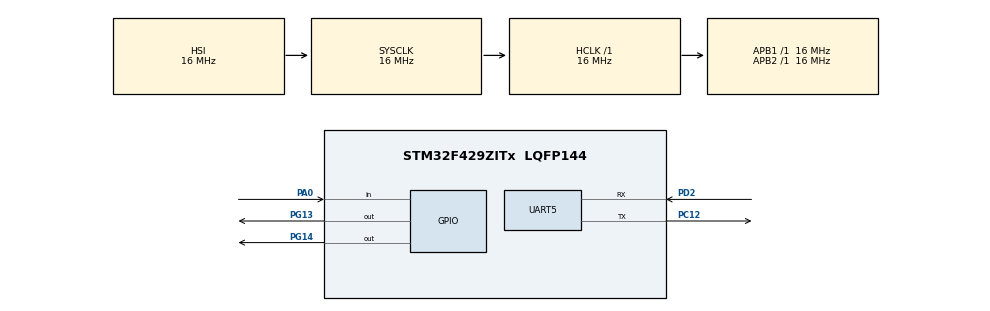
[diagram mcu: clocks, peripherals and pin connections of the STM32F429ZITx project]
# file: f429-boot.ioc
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Mcu.Family=STM32F4
Mcu.Name=STM32F429ZITx
Mcu.Package=LQFP144
NVIC.PriorityGroup=NVIC_PRIORITYGROUP_4
PA0/WKUP.Signal=GPIO_Input
PC12.Mode=Asynchronous
PC12.Signal=UART5_TX
PD2.Mode=Asynchronous
PD2.Signal=UART5_RX
PG13.Signal=GPIO_Output
PG14.Signal=GPIO_Output
ProjectManager.HeapSize=0x200
ProjectManager.StackSize=0x400
ProjectManager.TargetToolchain=Makefile
RCC.AHBFreq_Value=16000000
RCC.APB1Freq_Value=16000000
RCC.APB2Freq_Value=16000000
RCC.CortexFreq_Value=16000000
RCC.HSE_VALUE=25000000
RCC.HSI_VALUE=16000000
RCC.LSE_VALUE=32768
RCC.SYSCLKFreq_VALUE=16000000
RCC.VCOOutputFreq_Value=192000000
UART5.VirtualMode=Asynchronous
board=custom

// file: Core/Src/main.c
/* USER CODE BEGIN Header */
/**
  ******************************************************************************
  * @file           : main.c
  * @brief          : Main program body
  ******************************************************************************
  * @attention
  *
  * Copyright (c) 2023 STMicroelectronics.
  * All rights reserved.
  *
  * This software is licensed under terms that can be found in the LICENSE file
  * in the root directory of this software component.
  * If no LICENSE file comes with this software, it is provided AS-IS.
  *
  ******************************************************************************
  */
/* USER CODE END Header */
#include "main.h"
#include "usart.h"
#include "gpio.h"

/* USER CODE BEGIN Includes */
#include "boot.h"
#include "proto.h"
#include "crc32.h"
#include "SEGGER_RTT.h"
/* USER CODE END Includes */

/* USER CODE BEGIN PV */
void normal_boot(void);
void bootloader_mode(void);
/* USER CODE END PV */

void SystemClock_Config(void);

int main(void)
{

  /* MCU Configuration--------------------------------------------------------*/

  /* Reset of all peripherals, Initializes the Flash interface and the Systick. */
  HAL_Init();

  /* Configure the system clock */
  SystemClock_Config();

  /* Initialize all configured peripherals */
  MX_GPIO_Init();
  MX_UART5_Init();

  /* Infinite loop */
  /* USER CODE BEGIN WHILE */
  uint32_t start_time = 0;
  bool is_pressed = false;
  int ret = 0;

  SEGGER_RTT_printf(0, "bootloader version: %s \r\n", BOOTLOADER_VERSION);
  ret = boot_init();

  if (ret == -1) {
    SEGGER_RTT_printf(0, "boot_init: wrong partition \r\n");
    while (1);
  }

  HAL_GPIO_WritePin(GPIOG, GPIO_PIN_14, GPIO_PIN_SET);
  // Logic to switch to bootloader mode
  start_time = HAL_GetTick();
  do {

    if (HAL_GPIO_ReadPin(GPIOA, GPIO_PIN_0) == GPIO_PIN_SET) {
      is_pressed = true;
    }

  } while ((HAL_GetTick() - start_time < 3000) && !is_pressed);

  // Perform normal boot.
  if (!is_pressed) {
    normal_boot();
  }

  // Enter into the bootloader mode.
  bootloader_mode();

  while (1)
  {
    /* USER CODE END WHILE */

  }
}

void SystemClock_Config(void)
{
  RCC_OscInitTypeDef RCC_OscInitStruct = {0};
  RCC_ClkInitTypeDef RCC_ClkInitStruct = {0};

  /** Configure the main internal regulator output voltage
  */
  __HAL_RCC_PWR_CLK_ENABLE();
  __HAL_PWR_VOLTAGESCALING_CONFIG(PWR_REGULATOR_VOLTAGE_SCALE3);

  /** Initializes the RCC Oscillators according to the specified parameters
  * in the RCC_OscInitTypeDef structure.
  */
  RCC_OscInitStruct.OscillatorType = RCC_OSCILLATORTYPE_HSI;
  RCC_OscInitStruct.HSIState = RCC_HSI_ON;
  RCC_OscInitStruct.HSICalibrationValue = RCC_HSICALIBRATION_DEFAULT;
  RCC_OscInitStruct.PLL.PLLState = RCC_PLL_NONE;
  if (HAL_RCC_OscConfig(&RCC_OscInitStruct) != HAL_OK)
  {
    Error_Handler();
  }

  /** Initializes the CPU, AHB and APB buses clocks
  */
  RCC_ClkInitStruct.ClockType = RCC_CLOCKTYPE_HCLK|RCC_CLOCKTYPE_SYSCLK
                              |RCC_CLOCKTYPE_PCLK1|RCC_CLOCKTYPE_PCLK2;
  RCC_ClkInitStruct.SYSCLKSource = RCC_SYSCLKSOURCE_HSI;
  RCC_ClkInitStruct.AHBCLKDivider = RCC_SYSCLK_DIV1;
  RCC_ClkInitStruct.APB1CLKDivider = RCC_HCLK_DIV1;
  RCC_ClkInitStruct.APB2CLKDivider = RCC_HCLK_DIV1;

  if (HAL_RCC_ClockConfig(&RCC_ClkInitStruct, FLASH_LATENCY_0) != HAL_OK)
  {
    Error_Handler();
  }
}

/* USER CODE BEGIN 4 */

void normal_boot(void)
{
  int ret = 0;

  SEGGER_RTT_printf(0, "normal boot: perform normal application boot\r\n");
  ret = boot_validate_appslot_bin();

  if (ret == -1) {
    SEGGER_RTT_printf(0, "normal boot: appslot validation failed\r\n");
    while (1); // unlimited wait
  }
  SEGGER_RTT_printf(0, "normal boot: validation successful\r\n");

  // jump to application address
  boot_goto_app();
}

void boot_newapp(void)
{
  int ret = 0;

  // validate the application binary
  ret = boot_validate_tempslot_bin(BOOT_TEMPSLOT1);
  if (ret == -1) {
    SEGGER_RTT_printf(0, "bootloader mode: validation failed, bootloader halt...!\r\n");
    while(1); // unlimited wait
  }

  boot_load_bin_to_appslot(BOOT_TEMPSLOT1);

  ret = boot_validate_appslot_bin();
  if (ret == -1) {
    SEGGER_RTT_printf(0, "bootloader mode: failed to load application, bootloader halt...!");
    while (1); // unlimited wait
  }

  SEGGER_RTT_printf(0, "bootloader mode: validation successful\r\n");
  // jump to application slot
  boot_goto_app();
}

void write_app_config(sbp_handle_t *sbp_handle)
{
  uint8_t version[8] = {0};

  memcpy(version, (uint8_t*)&sbp_handle->config.version, 4);
  SEGGER_RTT_printf(0, "bootloader mode: application version: ");
  SEGGER_RTT_printf(0, "%d.", version[0]);
  SEGGER_RTT_printf(0, "%d.", version[1]);
  SEGGER_RTT_printf(0, "%d",  version[2]);
  SEGGER_RTT_printf(0, "\r\n");
  SEGGER_RTT_printf(0, "bootloader mode: application size: %ld\r\n", sbp_handle->config.size);

  boot_write_config_version(sbp_handle->config.version);
  boot_write_config_size(sbp_handle->config.size);
  boot_write_config_crc(sbp_handle->config.crc);
  boot_write_config_slotno(BOOT_TEMPSLOT1);
}

void write_app_bin(sbp_handle_t *sbp_handle)
{
  boot_write_bin_to_tempslot(BOOT_TEMPSLOT1, sbp_handle->data.bytes, sbp_handle->data.size);
}

void bootloader_mode(void)
{
  sbp_handle_t sbp_handle;

  // Enter into the bootloader mode
  SEGGER_RTT_printf(0, "bootloader mode: entering bootloader mode\r\n");
  SEGGER_RTT_printf(0, "bootloader mode: erasing tempslot %d \r\n", BOOT_TEMPSLOT1 + 1);
  boot_erase_tempslot(BOOT_TEMPSLOT1);

  while (1) {
    proto_receive_packet(&sbp_handle);

    switch (sbp_handle.state) {

      case STATE_RESET:
        break;
      case STATE_DOWNLOAD_START:
        break;
      case STATE_DOWNLOAD_COMPLETE:
        boot_newapp();
        break;
      case STATE_CONF_PACKET_RECEIVED:
        write_app_config(&sbp_handle);
        break;
      case STATE_DATA_PACKET_RECEIVED:
        write_app_bin(&sbp_handle);
        break;

    }
  }
}

/* USER CODE END 4 */

void Error_Handler(void)
{
  __disable_irq();
  while (1)
  {
  }
}
